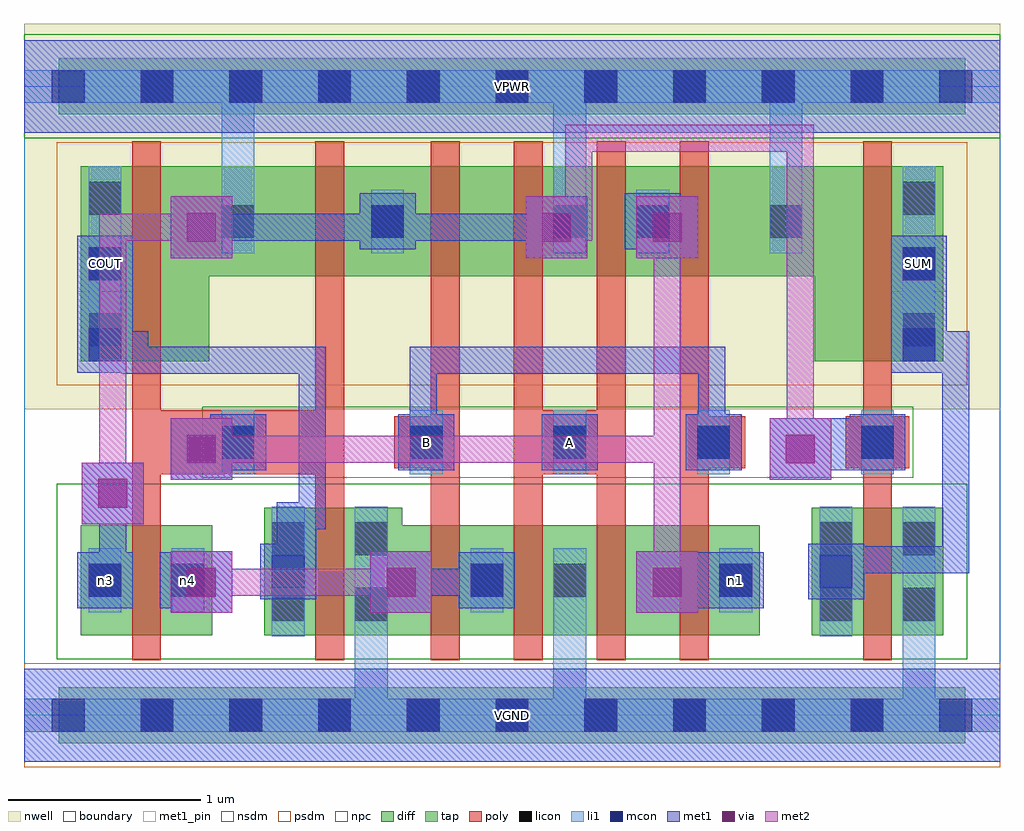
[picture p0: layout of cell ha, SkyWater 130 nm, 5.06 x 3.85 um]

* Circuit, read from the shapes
.subckt ha A B COUT SUM VGND VPWR n1 n3 n4
XM1 n4 n1 n3 VGND sky130_fd_pr__nfet_01v8 w=0.57 l=0.15
XM2 VGND n1 COUT VGND sky130_fd_pr__nfet_01v8 w=0.66 l=0.15
XM3 n4 B VGND VGND sky130_fd_pr__nfet_01v8 w=0.57 l=0.15
XM4 VGND A n4 VGND sky130_fd_pr__nfet_01v8 w=0.57 l=0.15
XM5 n2 A VGND VGND sky130_fd_pr__nfet_01v8 w=0.57 l=0.15
XM6 n1 B n2 VGND sky130_fd_pr__nfet_01v8 w=0.57 l=0.15
XM7 VGND n3 SUM VGND sky130_fd_pr__nfet_01v8 w=0.66 l=0.15
XM8 VPWR n1 COUT VPWR sky130_fd_pr__pfet_01v8 w=1.01 l=0.15
XM9 n3 n1 VPWR VPWR sky130_fd_pr__pfet_01v8 w=0.57 l=0.15
XM10 n5 B n3 VPWR sky130_fd_pr__pfet_01v8 w=0.57 l=0.15
XM11 VPWR A n5 VPWR sky130_fd_pr__pfet_01v8 w=0.57 l=0.15
XM12 n1 A VPWR VPWR sky130_fd_pr__pfet_01v8 w=0.57 l=0.15
XM13 VPWR B n1 VPWR sky130_fd_pr__pfet_01v8 w=0.57 l=0.15
XM14 SUM n3 VPWR VPWR sky130_fd_pr__pfet_01v8 w=1.01 l=0.15
.ends

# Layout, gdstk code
import gdstk
lib = gdstk.Library(unit=1e-6, precision=1e-09)
def R(c, l, rs):  # rectangles x0, y0, x1, y1
    for r in rs: c.add(gdstk.rectangle(r[:2], r[2:], *l))
def A(c, l, x, y, w, h, nx, ny, dx, dy):  # array of equal rectangles
    R(c, l, [(x+i*dx, y+j*dy, x+i*dx+w, y+j*dy+h) for i in range(nx) for j in range(ny)])
nwell = (64, 20)
diff = (65, 20)
tap = (65, 44)
poly = (66, 20)
licon = (66, 44)
li1 = (67, 20)
mcon = (67, 44)
met1_pin = (68, 16)
met1 = (68, 20)
via = (68, 44)
met2 = (69, 20)
nsdm = (93, 44)
psdm = (94, 20)
npc = (95, 20)
boundary = (235, 4)

c_ha = lib.new_cell('ha')
R(c_ha, nwell, [(0,1.585,5.06,3.585)])
R(c_ha, diff, [(0.295,0.415,0.975,0.985), (1.245,0.415,3.815,0.985), (1.245,0.415,1.96,1.075), (4.085,0.415,4.765,1.075), (0.295,1.835,0.96,2.845), (4.1,1.835,4.765,2.845), (0.295,2.275,4.765,2.845)])
R(c_ha, tap, [(0.18,-0.145,4.88,0.145), (0.18,3.115,4.88,3.405)])
A(c_ha, poly, 2.11, 0.285, 0.15, 2.69, 4, 1, 0.43, 0)
R(c_ha, poly, [(0.56,0.285,0.71,2.975), (1.51,0.285,1.66,2.975), (4.35,0.285,4.5,2.975), (0.56,1.25,1.66,1.58), (2.54,1.25,3.12,1.58), (1.92,1.28,2.25,1.55), (3.41,1.28,3.74,1.55), (4.26,1.28,4.59,1.55)])
A(c_ha, licon, 0.605, -0.085, 0.17, 0.17, 9, 2, 0.46, 3.26)
A(c_ha, licon, 2, 1.33, 0.17, 0.17, 3, 1, 0.745, 0)
A(c_ha, licon, 0.335, 1.915, 0.17, 0.17, 1, 3, 0, 0.34)
A(c_ha, licon, 4.555, 1.915, 0.17, 0.17, 1, 3, 0, 0.34)
R(c_ha, licon, [(1.285,0.49,1.455,0.66), (1.715,0.49,1.885,0.66), (4.125,0.49,4.295,0.66), (4.555,0.49,4.725,0.66), (0.335,0.615,0.505,0.785), (0.765,0.615,0.935,0.785), (2.315,0.615,2.485,0.785), (2.745,0.615,2.915,0.785), (3.605,0.615,3.775,0.785), (1.285,0.83,1.455,1), (1.715,0.83,1.885,1), (4.125,0.83,4.295,1), (4.555,0.83,4.725,1), (1.025,1.33,1.195,1.5), (4.34,1.33,4.51,1.5), (1.025,2.475,1.195,2.645), (1.8,2.475,1.97,2.645), (2.745,2.475,2.915,2.645), (3.175,2.475,3.345,2.645), (3.865,2.475,4.035,2.645)])
A(c_ha, li1, 2, 1.25, 0.17, 0.33, 3, 1, 0.745, 0)
R(c_ha, li1, [(0,-0.085,5.06,0.085), (1.715,-0.085,1.885,1.08), (2.745,-0.085,2.915,0.865), (4.555,-0.085,4.725,1.08), (1.285,0.41,1.455,1.08), (1.715,0.41,1.885,1.08), (4.125,0.41,4.295,1.08), (4.555,0.41,4.725,1.08), (0.335,0.535,0.505,0.865), (0.765,0.535,0.935,0.865), (2.315,0.535,2.485,0.865), (2.745,0.535,2.915,0.865), (3.605,0.535,3.775,0.865), (1.025,1.25,1.195,1.58), (4.34,1.25,4.51,1.58), (0.335,1.835,0.505,2.845), (4.555,1.835,4.725,2.845), (1.025,2.395,1.195,2.725), (1.025,2.395,1.195,3.345), (1.8,2.395,1.97,2.725), (2.745,2.395,2.915,2.725), (2.745,2.395,2.915,3.345), (3.175,2.395,3.345,2.725), (3.865,2.395,4.035,2.725), (3.865,2.395,4.035,3.345), (0,3.175,5.06,3.345)])
A(c_ha, mcon, 0.145, -0.085, 0.17, 0.17, 11, 2, 0.46, 3.26)
A(c_ha, mcon, 2, 1.33, 0.17, 0.17, 3, 1, 0.745, 0)
R(c_ha, mcon, [(0.335,0.615,0.505,0.785), (0.765,0.615,0.935,0.785), (2.315,0.615,2.485,0.785), (3.605,0.615,3.775,0.785), (1.285,0.66,1.455,0.83), (4.125,0.66,4.295,0.83), (1.025,1.33,1.195,1.5), (4.34,1.33,4.51,1.5), (0.335,1.835,0.505,2.005), (4.555,1.835,4.725,2.005), (0.335,2.255,0.505,2.425), (4.555,2.255,4.725,2.425), (1.8,2.475,1.97,2.645), (3.175,2.475,3.345,2.645)])
R(c_ha, met1_pin, [(0,-0.24,5.06,0.24), (1.94,1.27,2.23,1.56), (2.685,1.27,2.975,1.56), (0.275,2.195,0.565,2.485), (4.495,2.195,4.785,2.485), (0,3.02,5.06,3.5)])
A(c_ha, met1, 1.94, 1.27, 0.29, 0.29, 3, 1, 0.745, 0)
R(c_ha, met1, [(0,-0.24,5.06,0.24), (0.76,0.53,1.08,0.85), (1.795,0.53,2.115,0.85), (3.175,0.53,3.495,0.85), (0.275,0.555,0.565,0.845), (0.705,0.555,0.995,0.845), (2.255,0.555,2.545,0.845), (3.495,0.555,3.545,0.845), (3.545,0.555,3.835,0.845), (1.225,0.6,1.515,0.89), (4.065,0.6,4.355,0.89), (0.39,0.62,0.53,0.76), (0.39,0.62,0.53,1.22), (0.85,0.62,0.99,0.76), (1.885,0.62,2.485,0.76), (2.345,0.62,2.485,0.76), (3.265,0.62,3.75,0.76), (3.61,0.62,3.75,0.76), (1.31,0.735,1.45,0.875), (1.31,0.735,1.45,1.105), (4.185,0.735,4.325,0.875), (4.185,0.735,4.9,0.875), (4.76,0.735,4.9,1.795), (1.31,0.89,1.515,0.965), (1.425,0.89,1.515,0.965), (1.31,0.965,1.565,1.105), (1.425,0.965,1.565,1.91), (0.3,0.99,0.62,1.31), (0.76,1.22,1.08,1.54), (3.865,1.22,4.185,1.54), (0.965,1.27,1.255,1.56), (4.185,1.27,4.28,1.54), (4.28,1.27,4.57,1.56), (0.85,1.31,1.105,1.45), (0.965,1.31,1.105,1.45), (2,1.31,2.14,1.45), (2,1.31,2.14,1.91), (3.495,1.31,3.635,1.45), (3.495,1.31,3.635,1.91), (3.955,1.31,4.44,1.45), (4.3,1.31,4.44,1.45), (4.76,1.655,4.9,1.99), (0.505,1.77,0.645,1.99), (0.505,1.77,1.565,1.91), (2,1.77,3.635,1.91), (0.275,1.775,0.565,2.065), (4.495,1.775,4.785,2.065), (0.35,1.85,0.645,1.99), (4.57,1.85,4.9,1.99), (0.275,2.065,0.565,2.195), (4.495,2.065,4.785,2.195), (0.275,2.195,0.565,2.485), (4.495,2.195,4.785,2.485), (0.76,2.37,1.08,2.69), (2.6,2.37,2.92,2.69), (3.175,2.37,3.495,2.69), (1.74,2.415,2.03,2.705), (3.115,2.415,3.405,2.705), (0.85,2.46,1.91,2.6), (1.77,2.46,1.91,2.6), (1.77,2.46,2.83,2.6), (3.265,2.46,3.405,2.6), (0,3.02,5.06,3.5)])
R(c_ha, via, [(0.845,0.615,0.995,0.765), (1.88,0.615,2.03,0.765), (3.26,0.615,3.41,0.765), (0.385,1.075,0.535,1.225), (0.845,1.305,0.995,1.455), (3.95,1.305,4.1,1.455), (0.845,2.455,0.995,2.605), (2.685,2.455,2.835,2.605), (3.26,2.455,3.41,2.605)])
R(c_ha, met2, [(0.76,0.53,1.08,0.85), (1.795,0.53,2.115,0.85), (3.175,0.53,3.495,0.85), (0.85,0.62,2.025,0.76), (3.265,0.62,3.405,2.6), (0.3,0.99,0.62,1.31), (0.39,1.08,0.53,2.6), (0.76,1.22,1.08,1.54), (3.865,1.22,4.185,1.54), (0.85,1.31,3.405,1.45), (3.955,1.31,4.095,3.06), (0.76,2.37,1.08,2.69), (2.6,2.37,2.92,2.69), (3.175,2.37,3.495,2.69), (0.39,2.46,0.99,2.6), (2.69,2.46,2.945,2.6), (2.805,2.46,2.945,3.06), (2.805,2.92,4.095,3.06)])
R(c_ha, nsdm, [(0.17,0.29,4.89,1.2), (0,2.99,5.06,3.53)])
R(c_ha, psdm, [(0,-0.27,5.06,0.27), (0.17,1.71,4.89,2.97)])
R(c_ha, npc, [(0.925,1.23,4.61,1.6)])
R(c_ha, boundary, [(0,0,5.06,3.26)])
c_ha.add(gdstk.Label('n3', (0.42,0.7), layer=67, texttype=5))
c_ha.add(gdstk.Label('n4', (0.85,0.7), layer=67, texttype=5))
c_ha.add(gdstk.Label('n1', (3.69,0.7), layer=67, texttype=5))
c_ha.add(gdstk.Label('A', (2.83,1.415), layer=68, texttype=5))
c_ha.add(gdstk.Label('B', (2.085,1.415), layer=68, texttype=5))
c_ha.add(gdstk.Label('COUT', (0.42,2.34), layer=68, texttype=5))
c_ha.add(gdstk.Label('SUM', (4.64,2.34), layer=68, texttype=5))
c_ha.add(gdstk.Label('VPWR', (2.53,3.26), layer=68, texttype=5))
c_ha.add(gdstk.Label('VGND', (2.53,0), layer=68, texttype=5))
c_ha.add(gdstk.Label('A', (2.83,1.415), layer=68, texttype=16))
c_ha.add(gdstk.Label('B', (2.085,1.415), layer=68, texttype=16))
c_ha.add(gdstk.Label('COUT', (0.42,2.34), layer=68, texttype=16))
c_ha.add(gdstk.Label('SUM', (4.64,2.34), layer=68, texttype=16))
c_ha.add(gdstk.Label('VPWR', (2.53,3.26), layer=68, texttype=16))
c_ha.add(gdstk.Label('VGND', (2.53,0), layer=68, texttype=16))

lib.write_gds('ha.gds')
